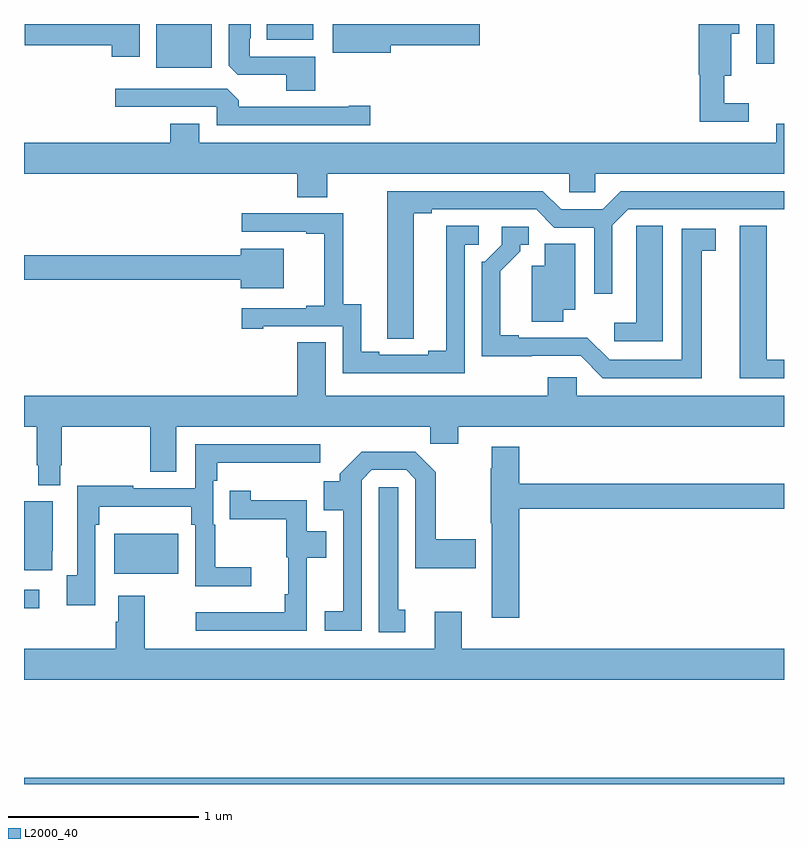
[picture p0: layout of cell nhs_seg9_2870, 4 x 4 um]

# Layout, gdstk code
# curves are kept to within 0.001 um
import gdstk
lib = gdstk.Library(unit=1e-6, precision=1e-09)
def R(c, l, rs):  # rectangles x0, y0, x1, y1
    for r in rs: c.add(gdstk.rectangle(r[:2], r[2:], *l))
def P(c, l, *ps):  # polygons
    for p in ps: c.add(gdstk.Polygon(p, *l))
L2000_40 = (2000, 40)

nhs_seg9_2870 = lib.new_cell('nhs_seg9_2870')
R(nhs_seg9_2870, L2000_40, [(275,1234.5,279,1234.532), (275,1235.426,275.08,1235.523), (275.474,1235.606,275.812,1235.818), (275.696,1238.27,275.989,1238.5), (278.853,1238.292,278.949,1238.5), (276.278,1238.417,276.523,1238.5)])
P(nhs_seg9_2870, L2000_40, [(275.608,1238.5),(275.004,1238.5),(275.004,1238.387),(275.462,1238.387),(275.462,1238.328),(275.608,1238.328)],
  [(276.931,1238.387),(277.399,1238.387),(277.399,1238.5),(276.624,1238.5),(276.624,1238.348),(276.931,1238.348)],
  [(276.533,1238.328),(276.189,1238.328),(276.189,1238.425),(276.193,1238.425),(276.193,1238.5),(276.077,1238.5),(276.077,1238.281),(276.126,1238.232),(276.38,1238.232),(276.38,1238.149),(276.533,1238.149)],
  [(278.815,1238.083),(278.686,1238.083),(278.686,1238.228),(278.722,1238.228),(278.722,1238.45),(278.764,1238.45),(278.764,1238.5),(278.552,1238.5),(278.552,1238.232),(278.557,1238.232),(278.557,1237.986),(278.815,1237.986)],
  [(276.823,1238.069),(276.71,1238.069),(276.71,1238.064),(276.131,1238.064),(276.131,1238.098),(276.069,1238.16),(275.481,1238.16),(275.481,1238.064),(276.015,1238.064),(276.015,1237.968),(276.823,1237.968)],
  [(276.597,1237.712),(277.869,1237.712),(277.869,1237.614),(278.007,1237.614),(278.007,1237.712),(279,1237.712),(279,1237.974),(278.96,1237.974),(278.96,1237.876),(275.923,1237.876),(275.923,1237.975),(275.771,1237.975),(275.771,1237.876),(275,1237.876),(275,1237.712),(276.437,1237.712),(276.437,1237.588),(276.597,1237.588)],
  [(277.051,1237.504),(277.147,1237.504),(277.147,1237.524),(277.695,1237.524),(277.791,1237.428),(278.001,1237.428),(278.001,1237.08),(278.097,1237.08),(278.097,1237.44),(278.181,1237.524),(279,1237.524),(279,1237.62),(278.141,1237.62),(278.045,1237.524),(277.827,1237.524),(277.731,1237.62),(276.911,1237.62),(276.912,1236.844),(277.051,1236.844)],
  [(277.32,1237.338),(277.393,1237.338),(277.393,1237.439),(277.223,1237.439),(277.223,1236.779),(277.127,1236.779),(277.127,1236.759),(276.871,1236.759),(276.871,1236.774),(276.775,1236.774),(276.775,1237.025),(276.681,1237.025),(276.681,1237.503),(276.147,1237.503),(276.147,1237.407),(276.485,1237.407),(276.485,1237.395),(276.581,1237.395),(276.581,1237.018),(276.485,1237.018),(276.485,1237.005),(276.147,1237.005),(276.147,1236.897),(276.259,1236.897),(276.259,1236.909),(276.678,1236.909),(276.678,1236.663),(277.32,1236.663)],
  [(278.362,1237.439),(278.223,1237.439),(278.223,1237.331),(278.222,1237.331),(278.222,1236.928),(278.106,1236.928),(278.106,1236.831),(278.362,1236.831)],
  [(279,1236.732),(278.908,1236.732),(278.908,1237.438),(278.768,1237.438),(278.768,1236.636),(279,1236.636)],
  [(278.566,1237.306),(278.641,1237.306),(278.641,1237.422),(278.462,1237.422),(278.462,1236.732),(278.082,1236.732),(277.964,1236.85),(277.603,1236.849),(277.603,1236.862),(277.507,1236.862),(277.507,1237.198),(277.612,1237.303),(277.612,1237.338),(277.657,1237.338),(277.657,1237.434),(277.515,1237.434),(277.515,1237.338),(277.425,1237.248),(277.41,1237.248),(277.41,1236.752),(277.929,1236.753),(278.046,1236.636),(278.566,1236.636)],
  [(277.837,1236.995),(277.9,1236.995),(277.9,1237.343),(277.742,1237.343),(277.742,1237.228),(277.673,1237.228),(277.673,1236.934),(277.837,1236.934)],
  [(276.367,1237.318),(276.14,1237.318),(276.14,1237.282),(275,1237.282),(275,1237.153),(276.14,1237.153),(276.14,1237.109),(276.367,1237.109)],
  [(275.191,1236.178),(275.199,1236.178),(275.199,1236.38),(275.665,1236.38),(275.665,1236.144),(275.8,1236.144),(275.8,1236.38),(277.138,1236.38),(277.138,1236.29),(277.285,1236.29),(277.285,1236.38),(279,1236.38),(279,1236.544),(277.908,1236.544),(277.908,1236.642),(277.757,1236.642),(277.757,1236.544),(276.589,1236.544),(276.589,1236.824),(276.437,1236.824),(276.437,1236.544),(275,1236.544),(275,1236.38),(275.068,1236.38),(275.068,1236.178),(275.075,1236.178),(275.075,1236.073),(275.191,1236.073)],
  [(275.376,1235.864),(275.396,1235.864),(275.396,1235.96),(275.881,1235.96),(275.881,1235.864),(275.901,1235.864),(275.901,1235.54),(276.196,1235.54),(276.196,1235.64),(276.007,1235.64),(276.007,1235.864),(275.997,1235.864),(275.997,1236.095),(276.017,1236.095),(276.017,1236.191),(276.559,1236.191),(276.559,1236.288),(275.901,1236.288),(275.901,1236.057),(275.576,1236.057),(275.576,1236.07),(275.28,1236.07),(275.28,1235.599),(275.225,1235.599),(275.225,1235.442),(275.376,1235.442)],
  [(277.607,1235.95),(279,1235.95),(279,1236.079),(277.607,1236.079),(277.607,1236.274),(277.463,1236.274),(277.463,1236.161),(277.456,1236.161),(277.456,1235.872),(277.463,1235.872),(277.463,1235.376),(277.607,1235.376)],
  [(276.777,1236.099),(276.831,1236.153),(277.011,1236.153),(277.059,1236.105),(277.059,1235.636),(277.378,1235.636),(277.378,1235.789),(277.168,1235.789),(277.168,1236.14),(277.058,1236.25),(276.778,1236.25),(276.661,1236.133),(276.661,1236.094),(276.578,1236.094),(276.578,1235.942),(276.681,1235.942),(276.681,1235.408),(276.582,1235.408),(276.582,1235.307),(276.777,1235.307)],
  [(277.006,1235.418),(276.97,1235.418),(276.97,1236.063),(276.866,1236.063),(276.866,1235.298),(277.006,1235.298)],
  [(276.489,1235.69),(276.592,1235.69),(276.592,1235.83),(276.489,1235.83),(276.489,1235.993),(276.193,1235.993),(276.193,1236.043),(276.082,1236.043),(276.082,1235.894),(276.381,1235.894),(276.381,1235.694),(276.392,1235.694),(276.392,1235.5),(276.373,1235.5),(276.373,1235.404),(275.904,1235.404),(275.904,1235.307),(276.489,1235.307)],
  [(275.148,1235.728),(275.152,1235.728),(275.152,1235.988),(275,1235.988),(275,1235.626),(275.148,1235.626)],
  [(279,1235.212),(277.303,1235.212),(277.303,1235.407),(277.163,1235.407),(277.163,1235.212),(275.635,1235.212),(275.635,1235.491),(275.495,1235.491),(275.495,1235.354),(275.483,1235.354),(275.483,1235.212),(275,1235.212),(275,1235.048),(279,1235.048)])

lib.write_gds('nhs_seg9_2870.gds')
